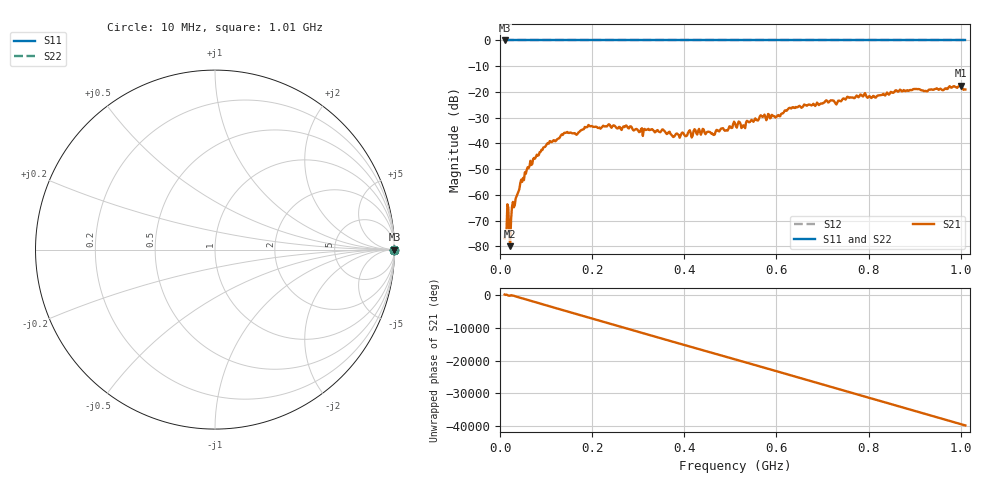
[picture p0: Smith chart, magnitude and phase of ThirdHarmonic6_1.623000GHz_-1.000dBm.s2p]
! 8/16/2025 7:23:26 PM
! C:\ANRITSUVNA\TEMP\TEMP.S2P
! CHANNEL.1
! TR.MEASUREMENT
! RAW.DATA
! RF.CORRECTION.OFF
! AVERAGING.OFF
! IF.BANDWIDTH: 5KHZ
! SWEEPTYPE:  FREQ.SWEEP(Linear)
! Reference Plane Port Info
! PORT:  PORT1  PORT2
! DISTANCE:  0  m  0  m
! TIME:  0  s  0  s
! PHASE.OFFSET:  0  deg.  0  deg.
! LOSS:  0  dB  0  dB
! REF.LOSS:  0  dB  0  dB
! REF.FREQ:  0  Hz  0  Hz
! Power Info
! POWER:  -20  dBm  -20  dBm
! EFF.POWER:  -20  dBm  -20  dBm
! SOURCE.ATTEN:  0  dB  0  dB
! TEST.ATTEN:  0  dB  0  dB
# GHZ S RI R 50.0
! FREQ.GHZ  S11RE  S11IM  S21RE  S21IM  S12RE  S12IM  S22RE  S22IM
!; PortSelection: Port_12
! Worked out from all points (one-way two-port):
!   501 points, 10 MHz to 1.01 GHz, reference 50 ohm
!   highest |S21| = -17.55 dB at 1 GHz (marker M1); lowest = -79.9 dB at 22 MHz (marker M2)
!   lowest |S11| = 0.0 dB at 10 MHz (marker M3)
!   |S11| at or under -10 dB: nowhere
!   |S22| runs from 0.0 to 0.0 dB; largest |S21 - S12| = 1.1
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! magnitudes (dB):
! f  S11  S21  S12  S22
! 10 MHz  0.0  -76.9  0.0  0.0
! 14 MHz  0.0  -74.9  0.0  0.0
! 22 MHz  0.0  -79.9  0.0  0.0
! 24 MHz  0.0  -69.7  0.0  0.0
! 30 MHz  0.0  -64.8  0.0  0.0
! 46 MHz  0.0  -54.1  0.0  0.0
! 76 MHz  0.0  -45.9  0.0  0.0
! 136 MHz  0.0  -36.8  0.0  0.0
! 178 MHz  0.0  -34.7  0.0  0.0
! 234 MHz  0.0  -33.0  0.0  0.0
! 344 MHz  0.0  -35.4  0.0  0.0
! 376 MHz  0.0  -37.5  0.0  0.0
! 462 MHz  0.0  -36.5  0.0  0.0
! 510 MHz  0.0  -32.2  0.0  0.0
! 528 MHz  0.0  -33.0  0.0  0.0
! 570 MHz  0.0  -29.7  0.0  0.0
! 602 MHz  0.0  -29.2  0.0  0.0
! 630 MHz  0.0  -26.2  0.0  0.0
! 678 MHz  0.0  -25.0  0.0  0.0
! 844 MHz  0.0  -21.1  0.0  0.0
! 1 GHz  0.0  -17.6  0.0  0.0
! 1.01 GHz  0.0  -19.1  0.0  0.0
